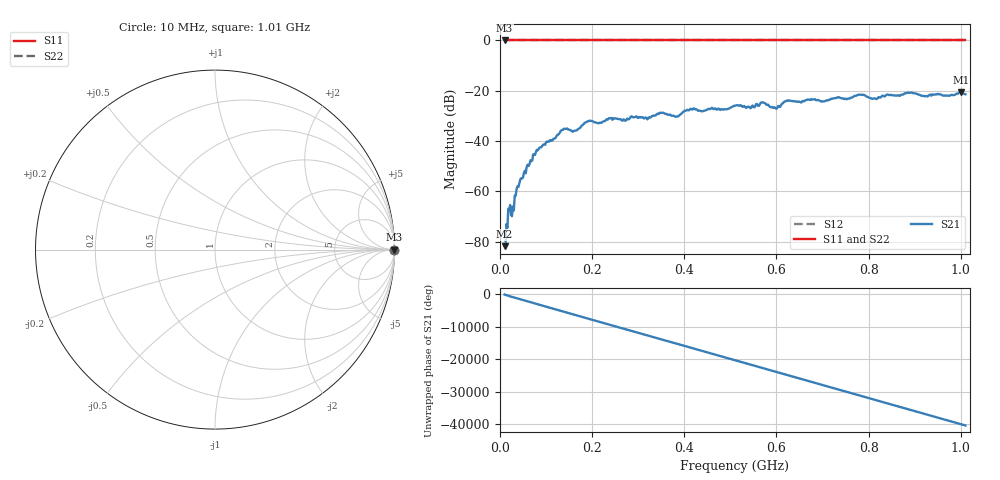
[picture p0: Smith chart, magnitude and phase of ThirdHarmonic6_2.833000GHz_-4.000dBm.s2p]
! 8/17/2025 7:33:50 AM
! C:\ANRITSUVNA\TEMP\TEMP.S2P
! CHANNEL.1
! TR.MEASUREMENT
! RAW.DATA
! RF.CORRECTION.OFF
! AVERAGING.OFF
! IF.BANDWIDTH: 5KHZ
! SWEEPTYPE:  FREQ.SWEEP(Linear)
! Reference Plane Port Info
! PORT:  PORT1  PORT2
! DISTANCE:  0  m  0  m
! TIME:  0  s  0  s
! PHASE.OFFSET:  0  deg.  0  deg.
! LOSS:  0  dB  0  dB
! REF.LOSS:  0  dB  0  dB
! REF.FREQ:  0  Hz  0  Hz
! Power Info
! POWER:  -20  dBm  -20  dBm
! EFF.POWER:  -20  dBm  -20  dBm
! SOURCE.ATTEN:  0  dB  0  dB
! TEST.ATTEN:  0  dB  0  dB
# GHZ S RI R 50.0
! FREQ.GHZ  S11RE  S11IM  S21RE  S21IM  S12RE  S12IM  S22RE  S22IM
!; PortSelection: Port_12
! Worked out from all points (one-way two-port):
!   501 points, 10 MHz to 1.01 GHz, reference 50 ohm
!   highest |S21| = -20.64 dB at 1 GHz (marker M1); lowest = -81.7 dB at 10 MHz (marker M2)
!   lowest |S11| = 0.0 dB at 10 MHz (marker M3)
!   |S11| at or under -10 dB: nowhere
!   |S22| runs from 0.0 to 0.0 dB; largest |S21 - S12| = 1.1
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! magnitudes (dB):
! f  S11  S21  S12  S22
! 10 MHz  0.0  -81.7  0.0  0.0
! 18 MHz  0.0  -66.9  0.0  0.0
! 28 MHz  0.0  -65.9  0.0  0.0
! 40 MHz  0.0  -58.2  0.0  0.0
! 76 MHz  0.0  -45.5  0.0  0.0
! 136 MHz  0.0  -35.6  0.0  0.0
! 162 MHz  0.0  -35.9  0.0  0.0
! 178 MHz  0.0  -33.8  0.0  0.0
! 194 MHz  0.0  -31.9  0.0  0.0
! 322 MHz  0.0  -30.8  0.0  0.0
! 344 MHz  0.0  -29.2  0.0  0.0
! 384 MHz  0.0  -30.2  0.0  0.0
! 416 MHz  0.0  -27.4  0.0  0.0
! 510 MHz  0.0  -25.9  0.0  0.0
! 548 MHz  0.0  -25.8  0.0  0.0
! 570 MHz  0.0  -24.6  0.0  0.0
! 598 MHz  0.0  -26.9  0.0  0.0
! 622 MHz  0.0  -23.9  0.0  0.0
! 678 MHz  0.0  -23.4  0.0  0.0
! 844 MHz  0.0  -21.7  0.0  0.0
! 1 GHz  0.0  -20.6  0.0  0.0
! 1.01 GHz  0.0  -21.4  0.0  0.0
